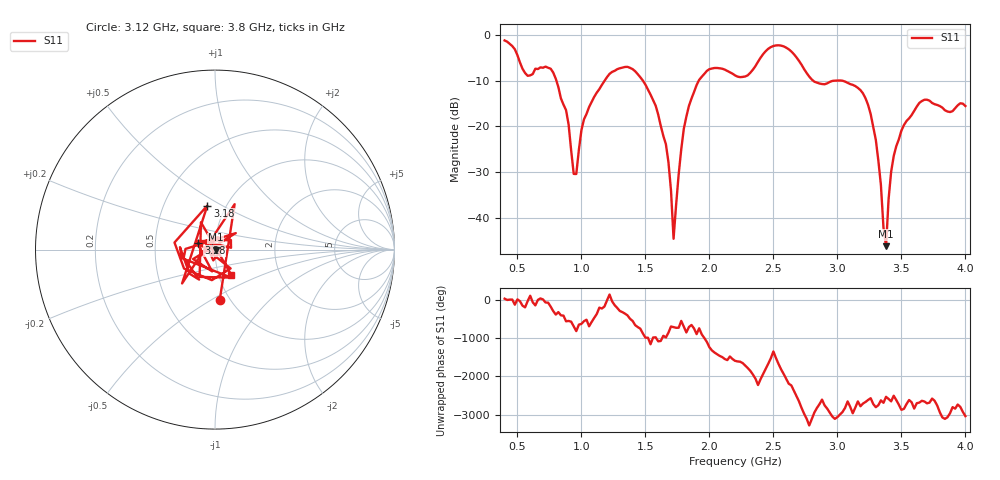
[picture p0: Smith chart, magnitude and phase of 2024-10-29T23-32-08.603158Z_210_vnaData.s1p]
!Created with skrf (http://scikit-rf.org).
# Hz S RI R 50.0
!freq ReS11 ImS11
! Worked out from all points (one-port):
!   181 points, 400 MHz to 4 GHz, reference 50 ohm
!   lowest |S11| = -46.1 dB at 3.38 GHz (marker M1), VSWR 1.01, Z = 50.5 - j0.124 ohm
!   |S11| at or under -10 dB: 804.3 MHz to 1.182 GHz (377.7 MHz wide, 38 % of centre); 1.48 GHz to 1.917 GHz (436.9 MHz wide, 25.7 % of centre); 3.03 GHz to end of sweep (the widest 3 of 4)
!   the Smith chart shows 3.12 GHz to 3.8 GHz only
!   S11 on the Smith chart (normalised r, x): 3.12 GHz: 0.89, -0.55; 3.18 GHz: 0.82, +0.43; 3.28 GHz: 0.83, +0.06; 3.8 GHz: 1.15, -0.33
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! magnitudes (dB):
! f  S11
! 400 MHz  -1.2
! 580 MHz  -9.0
! 760 MHz  -7.4
! 860 MHz  -15.2
! 960 MHz  -30.4
! 1.02 GHz  -18.5
! 1.3 GHz  -7.3
! 1.58 GHz  -15.5
! 1.68 GHz  -27.8
! 1.72 GHz  -44.5
! 1.76 GHz  -30.4
! 1.82 GHz  -17.9
! 1.92 GHz  -9.8
! 2.2 GHz  -8.9
! 2.5 GHz  -2.5
! 2.66 GHz  -4.2
! 2.82 GHz  -10.2
! 3.1 GHz  -10.8
! 3.12 GHz  -10.9
! 3.18 GHz  -12.1
! 3.28 GHz  -20.0
! 3.32 GHz  -27.5
! 3.38 GHz  -46.1
! 3.4 GHz  -35.8
! 3.44 GHz  -26.5
! 3.56 GHz  -18.2
! 3.8 GHz  -15.6
! 4 GHz  -15.5
